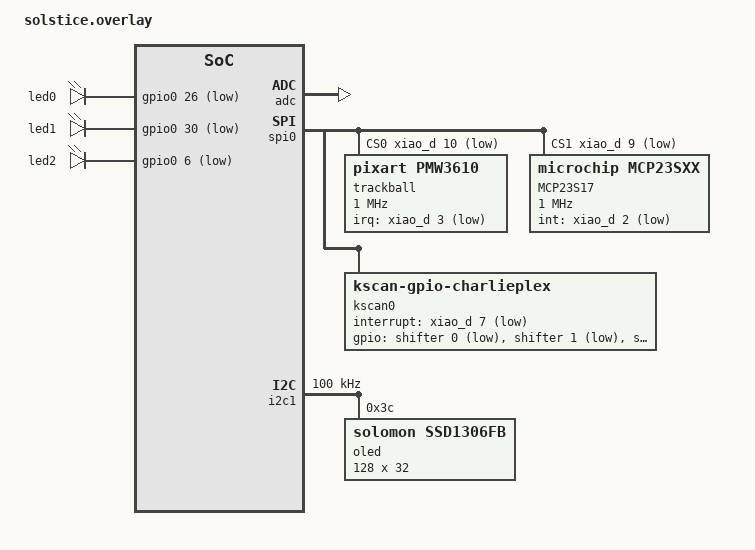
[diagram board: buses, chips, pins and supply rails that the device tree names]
#include <dt-bindings/zmk/bt.h>
#include <input/processors.dtsi>
#include <dt-bindings/zmk/input_transform.h>
#include <zephyr/dt-bindings/input/input-event-codes.h>
#include "solstice_pinctrl.dtsi"
#include "solstice.dtsi"
#include <behaviors/rgbled_widget.dtsi>

&adc {
	status = "okay";
};

/ {
    chosen {
        zephyr,display = &oled;
    };

    aliases {
        led-red = &led0;
        led-green = &led1;
        led-blue = &led2;
    };

    leds {
        compatible = "gpio-leds";
        status = "okay";
        led0: led_0 {
            gpios = <&gpio0 26 GPIO_ACTIVE_LOW>;  // red LED, connected to P0.26
        };
        led1: led_1 {
            gpios = <&gpio0 30 GPIO_ACTIVE_LOW>;  // green LED, connected to P0.30
        };
        led2: led_2 {
            gpios = <&gpio0 6 GPIO_ACTIVE_LOW>;  // blue LED, connected to P0.06
        };
    };

    anin0: analog_input_0 {
        compatible = "zmk,analog-input";
        sampling-hz = <100>;
        x-ch {
            io-channels = <&adc 2>;
            mv-mid = <1630>;
            mv-min-max = <1600>;
            mv-deadzone = <10>;
            scale-multiplier = <1>;
            scale-divisor = <70>;
            invert;
            evt-type = <INPUT_EV_REL>;
            input-code = <INPUT_REL_X>;
            report-on-change-only;
        };
        y-ch {
            io-channels = <&adc 3>;
            mv-mid = <1630>;
            mv-min-max = <1600>;
            mv-deadzone = <10>;
            scale-multiplier = <1>;
            scale-divisor = <70>;
            invert;
            evt-type = <INPUT_EV_REL>;
            input-code = <INPUT_REL_Y>;

            /* enable report mdoe for gamepad axix or knob */
            /* to only call input_report on quantquantized value is updated */
            report-on-change-only;
        };
    };
    
    analog_input_listener {
        status = "okay";
        compatible = "zmk,input-listener";
        device = <&anin0>;
    //    input-processors = <&zip_temp_layer 3 1000>;
    //    scroll {
    //        layers = <2>;
    //        input-processors = <&zip_xy_transform (INPUT_TRANSFORM_Y_INVERT)>, <&zip_xy_scaler 1 16>, <&zip_xy_to_scroll_mapper>;
    //    };
    };
}; 

&spi0 {
    status = "okay";
    cs-gpios =  <&xiao_d 10 GPIO_ACTIVE_LOW>, <&xiao_d 9 GPIO_ACTIVE_LOW>;
    pinctrl-0 = <&spi0_default>;
    pinctrl-1 = <&spi0_sleep>;
    pinctrl-names = "default", "sleep";
    compatible = "nordic,nrf-spim";

    trackball: pd@0 {
        status = "okay";
        compatible = "pixart,pmw3610";
        reg = <0>;
  	    cpi = <600>;
        spi-max-frequency = <1000000>;
        evt-type = <INPUT_EV_REL>;
        x-input-code = <INPUT_REL_X>;
        y-input-code = <INPUT_REL_Y>;
        irq-gpios = <&xiao_d 3 (GPIO_ACTIVE_LOW | GPIO_PULL_UP)>;
    };

    shifter: mcp23sxx@1 {
        status = "okay";
        compatible = "microchip,mcp23sxx";
        gpio-controller;
        spi-max-frequency = <1000000>;
        reg = <1>;
        label = "MCP23S17";
        #gpio-cells = <2>;
        ngpios = <16>;
        int-gpios = <&xiao_d 2 GPIO_ACTIVE_LOW>;
    };

    kscan0: kscan_0 {
        compatible = "zmk,kscan-gpio-charlieplex";
        interrupt-gpios = <&xiao_d 7 (GPIO_ACTIVE_LOW)>;
        gpios
            = <&shifter 0 (GPIO_ACTIVE_LOW)>
            , <&shifter 1 (GPIO_ACTIVE_LOW)>
            , <&shifter 2 (GPIO_ACTIVE_LOW)>
            , <&shifter 3 (GPIO_ACTIVE_LOW)>
            , <&shifter 4 (GPIO_ACTIVE_LOW)>
            , <&shifter 5 (GPIO_ACTIVE_LOW)>
            , <&shifter 6 (GPIO_ACTIVE_LOW)>
            , <&shifter 7 (GPIO_ACTIVE_LOW)>
            , <&shifter 8 (GPIO_ACTIVE_LOW)>
            , <&shifter 9 (GPIO_ACTIVE_LOW)>
            ;
    };
};

&i2c1  {
    status = "okay";
    compatible = "nordic,nrf-twi";
    pinctrl-0 = <&i2c1_default>;
    pinctrl-1 = <&i2c1_sleep>;
    pinctrl-names = "default", "sleep";
    
    clock-frequency = <100000>; 
    oled: ssd1306@3c {
        compatible = "solomon,ssd1306fb";
        reg = <0x3c>;
        width = <128>;
        height = <32>;
        segment-offset = <0>;
        page-offset = <0>;
        display-offset = <0>;
        multiplex-ratio = <31>;
        segment-remap;
        com-invdir;
        com-sequential;
        inversion-on;
        prechargep = <0x22>;
    };
};
  
